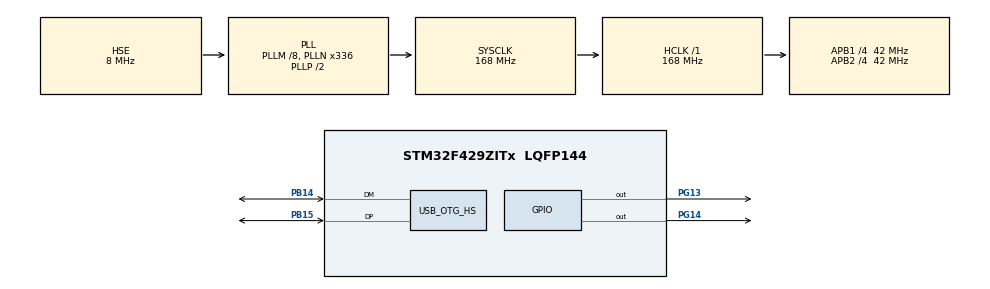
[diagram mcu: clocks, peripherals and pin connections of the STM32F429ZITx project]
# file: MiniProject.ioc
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FREERTOS.Queues01=myQueue01,16,uint8_t,0,Dynamic,NULL,NULL
FREERTOS.Tasks01=TaskDisplayLCD,0,256,StartTask01,Default,NULL,Dynamic,NULL,NULL;TaskGyroScope,0,256,StartTask02,Default,NULL,Dynamic,NULL,NULL
FREERTOS.configUSE_NEWLIB_REENTRANT=1
Mcu.Family=STM32F4
Mcu.Name=STM32F429ZITx
Mcu.Package=LQFP144
NVIC.OTG_HS_IRQn=true\:5\:0\:false\:false\:true\:true\:true\:true\:true
NVIC.PriorityGroup=NVIC_PRIORITYGROUP_4
NVIC.TIM6_DAC_IRQn=true\:15\:0\:false\:false\:true\:false\:false\:true\:true
NVIC.TimeBase=TIM6_DAC_IRQn
NVIC.TimeBaseIP=TIM6
PA13.Mode=Serial_Wire
PA13.Signal=SYS_JTMS-SWDIO
PA14.Mode=Serial_Wire
PA14.Signal=SYS_JTCK-SWCLK
PB14.Mode=Device_Only_FS
PB14.Signal=USB_OTG_HS_DM
PB15.Mode=Device_Only_FS
PB15.Signal=USB_OTG_HS_DP
PG13.GPIO_Speed=GPIO_SPEED_FREQ_HIGH
PG13.Signal=GPIO_Output
PG14.GPIO_Speed=GPIO_SPEED_FREQ_HIGH
PG14.Signal=GPIO_Output
PH0/OSC_IN.Mode=HSE-External-Oscillator
PH0/OSC_IN.Signal=RCC_OSC_IN
PH1/OSC_OUT.Mode=HSE-External-Oscillator
PH1/OSC_OUT.Signal=RCC_OSC_OUT
ProjectManager.HeapSize=0x2000
ProjectManager.StackSize=0x400
ProjectManager.TargetToolchain=STM32CubeIDE
RCC.48MHZClocksFreq_Value=48000000
RCC.AHBFreq_Value=168000000
RCC.APB1CLKDivider=RCC_HCLK_DIV4
RCC.APB1Freq_Value=42000000
RCC.APB1TimFreq_Value=84000000
RCC.APB2CLKDivider=RCC_HCLK_DIV4
RCC.APB2Freq_Value=42000000
RCC.APB2TimFreq_Value=84000000
RCC.CortexFreq_Value=168000000
RCC.HCLKFreq_Value=168000000
RCC.HSE_VALUE=8000000
RCC.HSI_VALUE=16000000
RCC.LSE_VALUE=32768
RCC.PLLM=8
RCC.PLLN=336
RCC.PLLQ=7
RCC.SYSCLKFreq_VALUE=168000000
RCC.SYSCLKSource=RCC_SYSCLKSOURCE_PLLCLK
RCC.VCOOutputFreq_Value=336000000
USB_DEVICE.CLASS_NAME_HS=CDC
USB_DEVICE.VirtualMode-CDC_HS=Cdc
USB_DEVICE.VirtualModeHS=Cdc_HS
USB_OTG_HS.VirtualMode-Device_Only_FS=Device_Only_FS
VP_FREERTOS_VS_CMSIS_V1.Mode=CMSIS_V1
VP_SYS_VS_tim6.Mode=TIM6
VP_USB_DEVICE_VS_USB_DEVICE_CDC_HS.Mode=CDC_HS
board=custom

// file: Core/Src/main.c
/* USER CODE BEGIN Header */
/**
  ******************************************************************************
  * @file           : main.c
  * @brief          : Main program body
  ******************************************************************************
  * @attention
  *
  * Copyright (c) 2023 STMicroelectronics.
  * All rights reserved.
  *
  * This software is licensed under terms that can be found in the LICENSE file
  * in the root directory of this software component.
  * If no LICENSE file comes with this software, it is provided AS-IS.
  *
  ******************************************************************************
  */
/* USER CODE END Header */
#include "main.h"
#include "cmsis_os.h"
#include "usb_device.h"

/* USER CODE BEGIN Includes */
#include "stdio.h"
#include "stm32f429i_discovery_lcd.h"
#include "string.h"
#include "usbd_cdc_if.h"
#include "stm32f429i_discovery_gyroscope.h"
/* USER CODE END Includes */

osThreadId TaskDisplayLCDHandle;
osThreadId TaskGyroScopeHandle;
osMessageQId myQueue01Handle;
/* USER CODE BEGIN PV */
static int current_radius = 50;	//khai bao ban kinh cua hinh tron luc ban dau
static int current_speed = 10;	//khai bao toc do tang bong luc ban dau
static int fallDown = 0;		//fallDown = 0 la trang thai bong dang bay len
static int gameRunning = 1;		//game dang chay, gameover = (gameRunning = 0)
static int score = 0;			//khai bao diem

#define MAX_RADIUS_OF_HIGH_SPEED		120
#define MAX_RADIUS_OF_MEDIUM_SPEED		110
#define MAX_RADIUS_OF_LOW_SPEED			100
#define MIN_RADIUS		15

#define HIGH_SPEED		15
#define MEDIUM_SPEED	10
#define LOW_SPEED		5
/* USER CODE END PV */

void SystemClock_Config(void);
static void MX_GPIO_Init(void);
void StartTask01(void const * argument);
void StartTask02(void const * argument);

int main(void)
{

  /* MCU Configuration--------------------------------------------------------*/

  /* Reset of all peripherals, Initializes the Flash interface and the Systick. */
  HAL_Init();

  /* Configure the system clock */
  SystemClock_Config();

  /* Initialize all configured peripherals */
  MX_GPIO_Init();

  /* Create the queue(s) */
  /* definition and creation of myQueue01 */
  osMessageQDef(myQueue01, 16, uint8_t);
  myQueue01Handle = osMessageCreate(osMessageQ(myQueue01), NULL);

  /* Create the thread(s) */
  /* definition and creation of TaskDisplayLCD */
  osThreadDef(TaskDisplayLCD, StartTask01, osPriorityNormal, 0, 256);
  TaskDisplayLCDHandle = osThreadCreate(osThread(TaskDisplayLCD), NULL);

  /* definition and creation of TaskGyroScope */
  osThreadDef(TaskGyroScope, StartTask02, osPriorityNormal, 0, 256);
  TaskGyroScopeHandle = osThreadCreate(osThread(TaskGyroScope), NULL);

  /* Start scheduler */
  osKernelStart();

  /* We should never get here as control is now taken by the scheduler */
  /* Infinite loop */
  while (1)
  {

  }
}

void SystemClock_Config(void)
{
  RCC_OscInitTypeDef RCC_OscInitStruct = {0};
  RCC_ClkInitTypeDef RCC_ClkInitStruct = {0};

  /** Configure the main internal regulator output voltage
  */
  __HAL_RCC_PWR_CLK_ENABLE();
  __HAL_PWR_VOLTAGESCALING_CONFIG(PWR_REGULATOR_VOLTAGE_SCALE1);

  /** Initializes the RCC Oscillators according to the specified parameters
  * in the RCC_OscInitTypeDef structure.
  */
  RCC_OscInitStruct.OscillatorType = RCC_OSCILLATORTYPE_HSE;
  RCC_OscInitStruct.HSEState = RCC_HSE_ON;
  RCC_OscInitStruct.PLL.PLLState = RCC_PLL_ON;
  RCC_OscInitStruct.PLL.PLLSource = RCC_PLLSOURCE_HSE;
  RCC_OscInitStruct.PLL.PLLM = 8;
  RCC_OscInitStruct.PLL.PLLN = 336;
  RCC_OscInitStruct.PLL.PLLP = RCC_PLLP_DIV2;
  RCC_OscInitStruct.PLL.PLLQ = 7;
  if (HAL_RCC_OscConfig(&RCC_OscInitStruct) != HAL_OK)
  {
    Error_Handler();
  }

  /** Initializes the CPU, AHB and APB buses clocks
  */
  RCC_ClkInitStruct.ClockType = RCC_CLOCKTYPE_HCLK|RCC_CLOCKTYPE_SYSCLK
                              |RCC_CLOCKTYPE_PCLK1|RCC_CLOCKTYPE_PCLK2;
  RCC_ClkInitStruct.SYSCLKSource = RCC_SYSCLKSOURCE_PLLCLK;
  RCC_ClkInitStruct.AHBCLKDivider = RCC_SYSCLK_DIV1;
  RCC_ClkInitStruct.APB1CLKDivider = RCC_HCLK_DIV4;
  RCC_ClkInitStruct.APB2CLKDivider = RCC_HCLK_DIV4;

  if (HAL_RCC_ClockConfig(&RCC_ClkInitStruct, FLASH_LATENCY_5) != HAL_OK)
  {
    Error_Handler();
  }
}

static void MX_GPIO_Init(void)
{
  GPIO_InitTypeDef GPIO_InitStruct = {0};

  /* GPIO Ports Clock Enable */
  __HAL_RCC_GPIOH_CLK_ENABLE();
  __HAL_RCC_GPIOB_CLK_ENABLE();
  __HAL_RCC_GPIOA_CLK_ENABLE();
  __HAL_RCC_GPIOG_CLK_ENABLE();

  /*Configure GPIO pin Output Level */
  HAL_GPIO_WritePin(GPIOG, GPIO_PIN_13|GPIO_PIN_14, GPIO_PIN_RESET);

  /*Configure GPIO pins : PG13 PG14 */
  GPIO_InitStruct.Pin = GPIO_PIN_13|GPIO_PIN_14;
  GPIO_InitStruct.Mode = GPIO_MODE_OUTPUT_PP;
  GPIO_InitStruct.Pull = GPIO_NOPULL;
  GPIO_InitStruct.Speed = GPIO_SPEED_FREQ_HIGH;
  HAL_GPIO_Init(GPIOG, &GPIO_InitStruct);

}

void StartTask01(void const * argument)
{
  /* init code for USB_DEVICE */
  MX_USB_DEVICE_Init();
  /* USER CODE BEGIN 5 */
  BSP_LCD_Init();
  BSP_LCD_LayerDefaultInit(1, SDRAM_DEVICE_ADDR);
  BSP_LCD_SelectLayer(1);
  BSP_LCD_DisplayOn();
  BSP_LCD_SetBackColor(LCD_COLOR_GREEN);
  BSP_LCD_SetTextColor(LCD_COLOR_BLACK);
  BSP_LCD_Clear(LCD_COLOR_GREEN);
  float x_angRate;
  char str_score [50];
  char str_currentHigh [50];
  /* Infinite loop */
  for(;;)
  {
	  sprintf(str_score,"Score: %d", score);
	  sprintf(str_currentHigh, "Current high: %d\n", current_radius);
	  BSP_LCD_Clear(LCD_COLOR_GREEN);
	  HAL_GPIO_WritePin(GPIOG, GPIO_PIN_13, GPIO_PIN_RESET);

	  if(!fallDown && gameRunning){
		  CDC_Transmit_HS(str_currentHigh, strlen(str_currentHigh));
		  BSP_LCD_DisplayStringAtLine(1,str_score);
		  BSP_LCD_FillCircle(120, 160, current_radius);
		  switch (current_speed) {
			case HIGH_SPEED:{
				current_radius += 8;
				if(current_radius >= MAX_RADIUS_OF_HIGH_SPEED)
					fallDown = 1;
				break;
			}
			case MEDIUM_SPEED:{
				current_radius += 6;
				if(current_radius >= MAX_RADIUS_OF_MEDIUM_SPEED)
					fallDown = 1;
				break;
			}
			case LOW_SPEED:{
				current_radius += 4;
				if(current_radius >= MAX_RADIUS_OF_LOW_SPEED)
					fallDown = 1;
				break;
			}
			default:
				break;
		  }
	  }
	  else{
		  if(current_radius > MIN_RADIUS){
			  BSP_LCD_DisplayStringAtLine(1,str_score);
			  BSP_LCD_FillCircle(120, 160, current_radius);
			  current_radius -= 5;
		  }
		  else{
			  gameRunning = 0;
			  BSP_LCD_Clear(LCD_COLOR_GREEN);
			  BSP_LCD_DisplayStringAtLine(5, "  GAME OVER!");
			  HAL_GPIO_WritePin(GPIOG, GPIO_PIN_14, GPIO_PIN_SET);
			  HAL_GPIO_WritePin(GPIOG, GPIO_PIN_13, GPIO_PIN_RESET);
			  CDC_Transmit_HS(str_currentHigh, strlen(str_currentHigh));
		  }
	  }
	  osMessagePut(myQueue01Handle, current_radius, osWaitForever);
	  osDelay(100);
  }
  /* USER CODE END 5 */
}

void StartTask02(void const * argument)
{
  /* USER CODE BEGIN StartTask02 */
	BSP_GYRO_Init();
	float L3GD20_AngRate[3];
  /* Infinite loop */
  for(;;){
	osEvent event = osMessageGet(myQueue01Handle, osWaitForever);
	int currentRadiusFromMessQ = event.value.v;

	L3GD20_ReadXYZAngRate(L3GD20_AngRate);
	for(int i = 0; i < 3; i++){
		L3GD20_AngRate[i] = L3GD20_AngRate[i]/10000;
	}
	if(L3GD20_AngRate[0] >= 15 && currentRadiusFromMessQ > 15 && currentRadiusFromMessQ <= 75 && gameRunning && fallDown){
		fallDown = 0;
		score++;
		HAL_GPIO_WritePin(GPIOG, GPIO_PIN_13, GPIO_PIN_SET);
		if(currentRadiusFromMessQ <= 35)
			current_speed = HIGH_SPEED;
		else if (currentRadiusFromMessQ > 35 && currentRadiusFromMessQ <= 45)
			current_speed = MEDIUM_SPEED;
		else
			current_speed = LOW_SPEED;
	}
    osDelay(1);
  }
  /* USER CODE END StartTask02 */
}

void HAL_TIM_PeriodElapsedCallback(TIM_HandleTypeDef *htim)
{
  if (htim->Instance == TIM6) {
    HAL_IncTick();
  }
}

void Error_Handler(void)
{
  __disable_irq();
  while (1)
  {
  }
}
